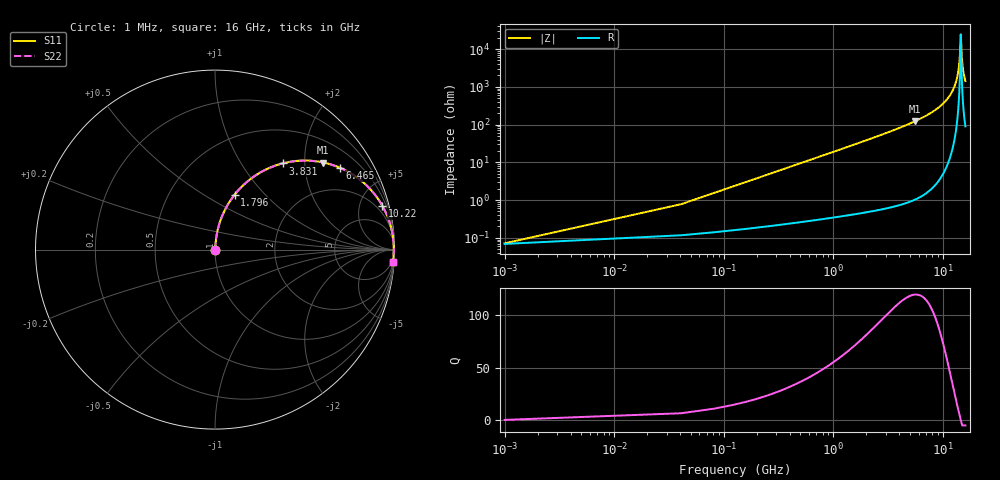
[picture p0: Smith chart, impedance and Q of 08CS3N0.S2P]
! Coilcraft 0805CS-3N0 Chip Inductor
! 11 June 2002
# MHZ S MA R 50
!Freq  MagS11  AngS11  MagS21  AngS21  MagS12  AngS12  MagS22  AngS22
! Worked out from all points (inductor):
!   402 points, 1 MHz to 16 GHz, reference 50 ohm
!   read as one part in series: L = 3 nH near 80.8 MHz
!   highest Q = 119 at 5.587 GHz (marker M1), where L = 3.52 nH
!   self-resonance near 14.52 GHz
!   S11 on the Smith chart (normalised r, x): 1 MHz: 1.00, +0.00; 1.796 GHz: 1.01, +0.69; 3.831 GHz: 1.01, +1.55; 6.465 GHz: 1.03, +3.04; 10.22 GHz: 1.11, +7.62; 16 GHz: 3, -28
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1  0.0007138 15.3  0.9993 -0.0  0.9993 -0.0  0.0007138 15.3
120.7  0.02277 84.7  0.9982 -1.3  0.9982 -1.3  0.02277 84.7
200.5  0.03775 85.0  0.9974 -2.2  0.9974 -2.2  0.03775 85.0
360.1  0.06765 84.2  0.9954 -3.9  0.9954 -3.9  0.06765 84.2
878.8  0.1635 79.5  0.9833 -9.4  0.9833 -9.4  0.1635 79.5
1796.5  0.3239 70.4  0.9419 -18.9  0.9419 -18.9  0.3239 70.4
2674.3  0.4606 62.0  0.8827 -27.4  0.8827 -27.4  0.4606 62.0
3831.4  0.6105 51.9  0.7865 -37.6  0.7865 -37.6  0.6105 51.9
5347.6  0.7559 40.4  0.6483 -49.1  0.6483 -49.1  0.7559 40.4
5587  0.7742 38.8  0.6264 -50.7  0.6264 -50.7  0.7742 38.8
6464.8  0.8321 33.2  0.5476 -56.3  0.5476 -56.3  0.8321 33.2
8020.9  0.9052 24.6  0.4163 -64.9  0.4163 -64.9  0.9052 24.6
10215.4  0.9638 14.7  0.2531 -74.5  0.2531 -74.5  0.9638 14.7
10694.2  0.9717 12.8  0.2209 -76.3  0.2209 -76.3  0.9717 12.8
12290.2  0.9889 7.0  0.1215 -81.3  0.1215 -81.3  0.9889 7.0
13367.5  0.9943 3.5  0.06069 -82.9  0.06069 -82.9  0.9943 3.5
14085.7  0.9958 1.3  0.02289 -78.7  0.02289 -78.7  0.9958 1.3
14524.6  0.9959 0.0  0.004085 -3.1  0.004085 -3.1  0.9959 0.0
14604.4  0.9959 -0.2  0.005561 42.3  0.005561 42.3  0.9959 -0.2
14843.8  0.9957 -0.9  0.01613 74.2  0.01613 74.2  0.9957 -0.9
15083.2  0.9954 -1.6  0.02754 79.7  0.02754 79.7  0.9954 -1.6
16000  0.9931 -4.0  0.07018 82.4  0.07018 82.4  0.9931 -4.0
